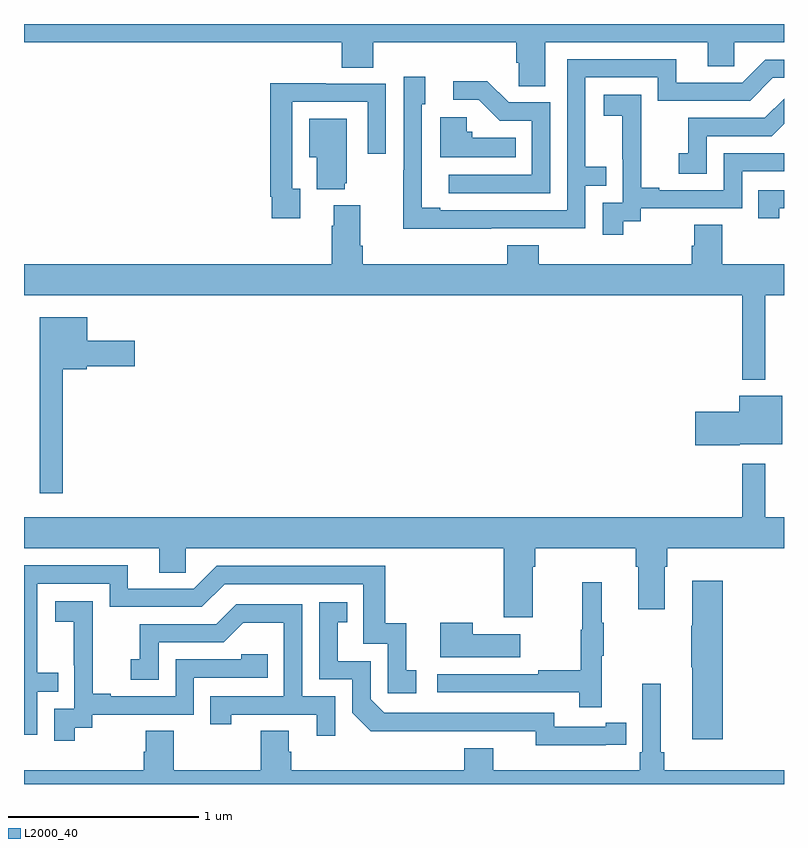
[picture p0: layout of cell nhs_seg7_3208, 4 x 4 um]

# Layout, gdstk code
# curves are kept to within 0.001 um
import gdstk
lib = gdstk.Library(unit=1e-6, precision=1e-09)
def P(c, l, *ps):  # polygons
    for p in ps: c.add(gdstk.Polygon(p, *l))
L2000_40 = (2000, 40)

nhs_seg7_3208 = lib.new_cell('nhs_seg7_3208')
P(nhs_seg7_3208, L2000_40, [(317.743,1045.904),(318.599,1045.904),(318.599,1045.777),(318.738,1045.777),(318.738,1045.904),(319,1045.904),(319,1046),(315,1046),(315,1045.904),(316.673,1045.904),(316.673,1045.771),(316.838,1045.771),(316.838,1045.904),(317.591,1045.904),(317.591,1045.795),(317.604,1045.795),(317.604,1045.672),(317.743,1045.672)],
  [(317.459,1044.924),(317.955,1044.924),(317.955,1045.149),(318.065,1045.149),(318.065,1045.25),(317.955,1045.25),(317.955,1045.719),(318.336,1045.719),(318.336,1045.596),(318.822,1045.596),(318.942,1045.716),(319,1045.716),(319,1045.812),(318.9,1045.812),(318.78,1045.692),(318.433,1045.692),(318.433,1045.815),(317.859,1045.815),(317.859,1045.02),(317.191,1045.02),(317.191,1045.033),(317.094,1045.033),(317.094,1045.578),(317.113,1045.578),(317.113,1045.723),(316.998,1045.723),(316.998,1045.229),(316.996,1045.229),(316.996,1044.923)],
  [(317.769,1045.587),(317.55,1045.587),(317.437,1045.7),(317.259,1045.7),(317.259,1045.602),(317.393,1045.602),(317.504,1045.491),(317.673,1045.491),(317.673,1045.206),(317.235,1045.206),(317.235,1045.11),(317.769,1045.11)],
  [(316.453,1045.134),(316.413,1045.134),(316.413,1045.59),(316.809,1045.59),(316.809,1045.317),(316.905,1045.317),(316.905,1045.686),(316.589,1045.686),(316.589,1045.688),(316.297,1045.688),(316.297,1045.09),(316.305,1045.09),(316.305,1044.978),(316.453,1044.978)],
  [(318.154,1044.961),(318.246,1044.961),(318.246,1045.029),(318.78,1045.029),(318.78,1045.224),(319,1045.224),(319,1045.32),(318.684,1045.32),(318.684,1045.125),(318.343,1045.125),(318.343,1045.138),(318.248,1045.138),(318.248,1045.421),(318.249,1045.421),(318.249,1045.627),(318.051,1045.627),(318.051,1045.517),(318.149,1045.517),(318.149,1045.289),(318.15,1045.289),(318.15,1045.059),(318.045,1045.059),(318.045,1044.891),(318.154,1044.891)],
  [(318.594,1045.41),(318.936,1045.41),(319,1045.474),(319,1045.607),(318.899,1045.506),(318.496,1045.506),(318.496,1045.321),(318.447,1045.321),(318.447,1045.212),(318.594,1045.212)],
  [(317.588,1045.402),(317.358,1045.402),(317.358,1045.434),(317.331,1045.434),(317.331,1045.51),(317.192,1045.51),(317.192,1045.298),(317.588,1045.298)],
  [(316.688,1045.161),(316.699,1045.161),(316.699,1045.501),(316.502,1045.501),(316.502,1045.298),(316.541,1045.298),(316.541,1045.13),(316.688,1045.13)],
  [(318.976,1045.029),(319,1045.029),(319,1045.125),(318.865,1045.125),(318.865,1044.978),(318.976,1044.978)],
  [(318.901,1044.572),(319,1044.572),(319,1044.736),(318.675,1044.736),(318.675,1044.944),(318.527,1044.944),(318.527,1044.834),(318.515,1044.834),(318.515,1044.736),(317.708,1044.736),(317.708,1044.835),(317.543,1044.835),(317.543,1044.736),(316.784,1044.736),(316.784,1044.832),(316.771,1044.832),(316.771,1045.045),(316.631,1045.045),(316.631,1044.938),(316.619,1044.938),(316.619,1044.736),(315,1044.736),(315,1044.572),(318.78,1044.572),(318.78,1044.128),(318.901,1044.128)],
  [(315.205,1044.182),(315.33,1044.182),(315.33,1044.2),(315.583,1044.2),(315.583,1044.334),(315.334,1044.334),(315.334,1044.457),(315.083,1044.457),(315.083,1043.529),(315.205,1043.529)],
  [(318.768,1043.789),(318.991,1043.789),(318.991,1044.043),(318.764,1044.043),(318.764,1043.96),(318.534,1043.96),(318.534,1043.782),(318.768,1043.782)],
  [(317.677,1043.144),(317.69,1043.144),(317.69,1043.24),(318.221,1043.24),(318.221,1043.144),(318.233,1043.144),(318.233,1042.92),(318.373,1042.92),(318.373,1043.144),(318.386,1043.144),(318.386,1043.24),(319,1043.24),(319,1043.404),(318.901,1043.404),(318.901,1043.686),(318.78,1043.686),(318.78,1043.404),(315,1043.404),(315,1043.24),(315.713,1043.24),(315.713,1043.113),(315.852,1043.113),(315.852,1043.24),(317.525,1043.24),(317.525,1042.878),(317.677,1042.878)],
  [(315.069,1042.485),(315.179,1042.485),(315.179,1042.586),(315.069,1042.586),(315.069,1043.055),(315.45,1043.055),(315.45,1042.932),(315.936,1042.932),(316.056,1043.052),(316.785,1043.052),(316.785,1042.737),(316.914,1042.737),(316.914,1042.478),(317.065,1042.478),(317.065,1042.599),(317.012,1042.599),(317.012,1042.846),(316.901,1042.846),(316.901,1043.148),(316.014,1043.148),(315.894,1043.028),(315.547,1043.028),(315.547,1043.151),(315,1043.151),(315,1042.26),(315.069,1042.26)],
  [(318.677,1043.071),(318.518,1043.071),(318.518,1042.832),(318.511,1042.832),(318.511,1042.615),(318.518,1042.615),(318.518,1042.236),(318.677,1042.236)],
  [(318.041,1042.675),(318.052,1042.675),(318.052,1042.849),(318.041,1042.849),(318.041,1043.062),(317.938,1043.062),(317.938,1042.812),(317.931,1042.812),(317.931,1042.598),(317.707,1042.598),(317.707,1042.578),(317.175,1042.578),(317.175,1042.482),(317.923,1042.482),(317.923,1042.404),(318.041,1042.404)],
  [(315.268,1042.297),(315.36,1042.297),(315.36,1042.365),(315.894,1042.365),(315.894,1042.56),(316.283,1042.56),(316.283,1042.683),(316.143,1042.683),(316.143,1042.656),(315.798,1042.656),(315.798,1042.461),(315.457,1042.461),(315.457,1042.474),(315.362,1042.474),(315.362,1042.757),(315.363,1042.757),(315.363,1042.963),(315.165,1042.963),(315.165,1042.853),(315.263,1042.853),(315.263,1042.625),(315.264,1042.625),(315.264,1042.395),(315.159,1042.395),(315.159,1042.227),(315.268,1042.227)],
  [(318.062,1042.206),(318.17,1042.206),(318.17,1042.322),(318.062,1042.322),(318.062,1042.302),(317.79,1042.302),(317.79,1042.374),(316.896,1042.374),(316.824,1042.446),(316.824,1042.647),(316.651,1042.647),(316.651,1042.851),(316.7,1042.851),(316.7,1042.957),(316.554,1042.957),(316.554,1042.551),(316.728,1042.551),(316.728,1042.374),(316.826,1042.277),(317.694,1042.278),(317.694,1042.205)],
  [(316.638,1042.461),(316.464,1042.461),(316.464,1042.947),(316.118,1042.947),(316.013,1042.842),(315.61,1042.842),(315.61,1042.657),(315.561,1042.657),(315.561,1042.548),(315.708,1042.548),(315.708,1042.746),(316.05,1042.746),(316.154,1042.85),(316.368,1042.85),(316.368,1042.461),(315.979,1042.461),(315.979,1042.314),(316.09,1042.314),(316.09,1042.365),(316.541,1042.365),(316.541,1042.254),(316.638,1042.254)],
  [(317.611,1042.789),(317.363,1042.789),(317.363,1042.849),(317.192,1042.849),(317.192,1042.667),(317.611,1042.667)],
  [(319,1042.072),(318.371,1042.072),(318.371,1042.168),(318.352,1042.168),(318.352,1042.528),(318.255,1042.528),(318.255,1042.168),(318.242,1042.168),(318.242,1042.072),(317.47,1042.072),(317.47,1042.189),(317.318,1042.189),(317.318,1042.072),(316.406,1042.072),(316.406,1042.17),(316.393,1042.17),(316.393,1042.28),(316.246,1042.28),(316.246,1042.072),(315.789,1042.072),(315.789,1042.28),(315.641,1042.28),(315.641,1042.17),(315.629,1042.17),(315.629,1042.072),(315,1042.072),(315,1042),(319,1042)])

lib.write_gds('nhs_seg7_3208.gds')
